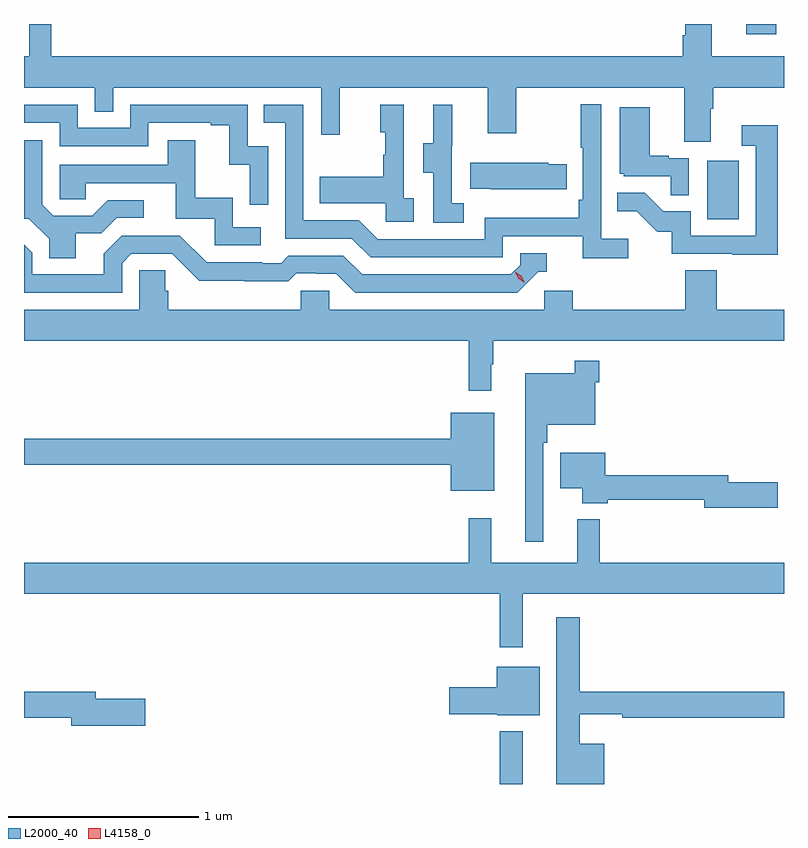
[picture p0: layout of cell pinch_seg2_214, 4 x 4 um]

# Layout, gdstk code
import gdstk
lib = gdstk.Library(unit=1e-6, precision=1e-09)
def R(c, l, rs):  # rectangles x0, y0, x1, y1
    for r in rs: c.add(gdstk.rectangle(r[:2], r[2:], *l))
def P(c, l, *ps):  # polygons
    for p in ps: c.add(gdstk.Polygon(p, *l))
L2000_40 = (2000, 40)
L4158_0 = (4158, 0)

pinch_seg2_214 = lib.new_cell('pinch_seg2_214')
R(pinch_seg2_214, L2000_40, [(1000.764,653.295,1000.885,653.572), (1001.858,656.268,1002.022,656.575), (1002.062,657.24,1002.22,657.295)])
P(pinch_seg2_214, L2000_40, [(1001.875,656.848),(1001.888,656.848),(1001.888,656.96),(1002.261,656.96),(1002.261,657.124),(1001.881,657.124),(1001.881,657.295),(1001.741,657.295),(1001.741,657.236),(1001.729,657.236),(1001.729,657.124),(998.405,657.124),(998.405,657.295),(998.288,657.295),(998.288,657.124),(998.261,657.124),(998.261,656.96),(998.634,656.96),(998.634,656.833),(998.73,656.833),(998.73,656.96),(999.825,656.96),(999.825,656.712),(999.923,656.712),(999.923,656.96),(1000.703,656.96),(1000.703,656.721),(1000.851,656.721),(1000.851,656.96),(1001.735,656.96),(1001.735,656.674),(1001.875,656.674)],
  [(1001.44,656.164),(1001.298,656.164),(1001.298,656.872),(1001.19,656.872),(1001.19,656.644),(1001.202,656.644),(1001.202,656.371),(1001.182,656.371),(1001.182,656.275),(1000.686,656.275),(1000.686,656.163),(1000.122,656.163),(1000.023,656.262),(999.732,656.262),(999.732,656.871),(999.523,656.871),(999.523,656.775),(999.636,656.775),(999.636,656.166),(999.986,656.166),(1000.085,656.067),(1000.782,656.067),(1000.782,656.178),(1001.201,656.178),(1001.201,656.062),(1001.44,656.062)],
  [(999.546,656.652),(999.438,656.652),(999.438,656.871),(998.82,656.871),(998.82,656.748),(998.544,656.748),(998.544,656.871),(998.261,656.871),(998.261,656.775),(998.448,656.775),(998.448,656.652),(998.916,656.652),(998.916,656.775),(999.245,656.775),(999.245,656.763),(999.341,656.763),(999.341,656.555),(999.45,656.555),(999.45,656.343),(999.546,656.343)],
  [(1000.576,656.351),(1000.512,656.351),(1000.512,656.655),(1000.514,656.655),(1000.514,656.869),(1000.415,656.869),(1000.415,656.667),(1000.361,656.667),(1000.361,656.512),(1000.416,656.512),(1000.416,656.248),(1000.576,656.248)],
  [(1000.312,656.378),(1000.26,656.378),(1000.26,656.869),(1000.136,656.869),(1000.136,656.724),(1000.162,656.724),(1000.162,656.606),(1000.152,656.606),(1000.152,656.491),(999.817,656.491),(999.817,656.351),(1000.164,656.351),(1000.164,656.253),(1000.312,656.253)],
  [(1001.76,656.589),(1001.654,656.589),(1001.654,656.602),(1001.554,656.602),(1001.554,656.857),(1001.396,656.857),(1001.396,656.508),(1001.418,656.508),(1001.418,656.493),(1001.665,656.493),(1001.665,656.395),(1001.76,656.395)],
  [(1002.227,656.761),(1002.039,656.761),(1002.039,656.655),(1002.111,656.655),(1002.111,656.181),(1001.769,656.181),(1001.769,656.31),(1001.625,656.31),(1001.527,656.408),(1001.383,656.408),(1001.383,656.309),(1001.487,656.309),(1001.594,656.202),(1001.671,656.202),(1001.671,656.085),(1001.989,656.085),(1001.989,656.08),(1002.227,656.08)],
  [(998.533,656.194),(998.668,656.194),(998.748,656.274),(998.89,656.274),(998.89,656.367),(998.702,656.367),(998.621,656.286),(998.415,656.286),(998.358,656.343),(998.358,656.683),(998.261,656.683),(998.261,656.271),(998.286,656.271),(998.393,656.164),(998.393,656.062),(998.533,656.062)],
  [(999.508,656.226),(999.36,656.226),(999.36,656.38),(999.161,656.38),(999.161,656.683),(999.017,656.683),(999.017,656.553),(998.448,656.553),(998.448,656.373),(998.585,656.373),(998.585,656.457),(999.059,656.457),(999.059,656.271),(999.264,656.271),(999.264,656.13),(999.508,656.13)],
  [(1001.117,656.556),(1001.019,656.556),(1001.019,656.566),(1000.609,656.566),(1000.609,656.429),(1000.717,656.429),(1000.717,656.426),(1001.117,656.426)],
  [(998.778,656.037),(998.826,656.085),(999.042,656.085),(999.184,655.943),(999.42,655.943),(999.42,655.941),(999.653,655.941),(999.695,655.983),(999.798,655.983),(999.798,655.98),(999.905,655.98),(1000.004,655.881),(1000.857,655.881),(1000.968,655.992),(1001.011,655.992),(1001.011,656.088),(1000.872,656.088),(1000.872,656.025),(1000.824,655.977),(1000.041,655.977),(999.942,656.076),(999.653,656.076),(999.614,656.037),(999.515,656.037),(999.515,656.04),(999.222,656.04),(999.081,656.181),(998.775,656.181),(998.681,656.087),(998.681,655.977),(998.304,655.977),(998.304,656.091),(998.261,656.134),(998.261,655.881),(998.778,655.881)],
  [(1000.72,655.505),(1000.732,655.505),(1000.732,655.628),(1002.261,655.628),(1002.261,655.792),(1001.906,655.792),(1001.906,656),(1001.741,656),(1001.741,655.792),(1001.15,655.792),(1001.15,655.89),(1000.998,655.89),(1000.998,655.792),(999.867,655.792),(999.867,655.89),(999.717,655.89),(999.717,655.792),(999.02,655.792),(999.02,655.89),(999.005,655.89),(999.005,656),(998.868,656),(998.868,655.792),(998.261,655.792),(998.261,655.628),(1000.603,655.628),(1000.603,655.365),(1000.72,655.365)],
  [(1000.995,655.091),(1001.015,655.091),(1001.015,655.187),(1001.268,655.187),(1001.268,655.409),(1001.288,655.409),(1001.288,655.522),(1001.16,655.522),(1001.16,655.456),(1000.898,655.456),(1000.898,654.57),(1000.995,654.57)],
  [(1000.735,655.249),(1000.508,655.249),(1000.508,655.112),(998.261,655.112),(998.261,654.976),(1000.508,654.976),(1000.508,654.839),(1000.735,654.839)],
  [(1002.229,654.884),(1001.968,654.884),(1001.968,654.92),(1001.32,654.92),(1001.32,655.039),(1001.084,655.039),(1001.084,654.851),(1001.198,654.851),(1001.198,654.773),(1001.333,654.773),(1001.333,654.792),(1001.84,654.792),(1001.84,654.749),(1002.229,654.749)],
  [(1000.885,654.296),(1002.261,654.296),(1002.261,654.46),(1001.291,654.46),(1001.291,654.688),(1001.174,654.688),(1001.174,654.46),(1000.721,654.46),(1000.721,654.694),(1000.603,654.694),(1000.603,654.46),(998.261,654.46),(998.261,654.296),(1000.764,654.296),(1000.764,654.015),(1000.885,654.015)],
  [(1001.314,653.506),(1001.185,653.506),(1001.185,653.663),(1001.41,653.663),(1001.41,653.644),(1002.261,653.644),(1002.261,653.78),(1001.185,653.78),(1001.185,654.172),(1001.063,654.172),(1001.063,653.295),(1001.314,653.295)],
  [(1000.975,653.911),(1000.748,653.911),(1000.748,653.805),(1000.5,653.805),(1000.5,653.663),(1000.752,653.663),(1000.752,653.657),(1000.975,653.657)],
  [(998.899,653.744),(998.638,653.744),(998.638,653.78),(998.261,653.78),(998.261,653.644),(998.51,653.644),(998.51,653.602),(998.899,653.602)])
P(pinch_seg2_214, L4158_0, [(1000.892,655.937),(1000.862,655.956),(1000.846,655.989),(1000.846,655.99),(1000.846,655.99),(1000.877,655.97),(1000.893,655.937),(1000.893,655.937)])

lib.write_gds('pinch_seg2_214.gds')
